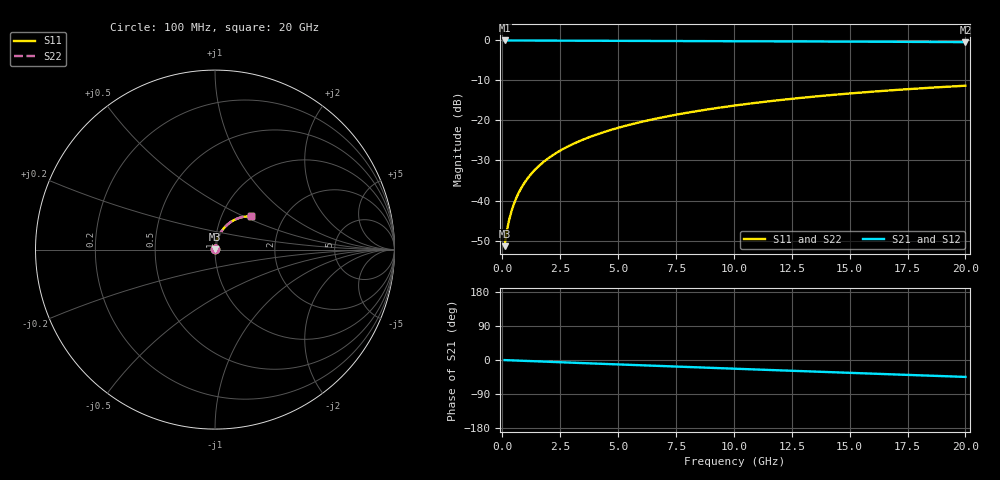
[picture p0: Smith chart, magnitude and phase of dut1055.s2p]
! Touchstone file exported from HFSS 2026.1.0
!  File:  C:/ffzhzh/LocalFiles/Ansys_Project_Files/temp_train_BSMRDL_1055_1783174000_51560.aedt
!  Generated:  10:07:55 PM Jul  4, 2026
!  Design:  BSMRDL
!  Project:  temp_train_BSMRDL_1055_1783174000_51560
! Variables:
!  h_bsmrdl = 5.71um
!  h_ox = 20um
!  h_rdl = 5um
!  h_sub = 80um
!  h_tmrdl = 5um
!  h_tsv = 80um
!  h_via = 3um
!  l_bsmrdl = 729.95um
!  l_sub = 1129.95um
!  l_tmrdl = 200um
!  m_sub = 200um
!  pitch = 47.63um
!  r_tsv = 6um
!  s_tmrdl = 10um
!  w_bsmrdl = 28.91um
!  w_sub = 500um
!  w_tmrdl = 12um
!  x_tsv_center1 = 206um
!  x_tsv_center2 = 964.86um
!  x_tsv_center3 = 1176.86um
!  x_tsv_center4 = 1935.72um
!  x_tsv_center5 = 2147.72um
!  x_tsv_center6 = 2906.58um
# GHz S MA R 50.000000
! Terminal data exported
! Port[1] = BSM_RDL1_1_T1
! Port[2] = BSM_RDL1_1_T2
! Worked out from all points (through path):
!   200 points, 100 MHz to 20 GHz, reference 50 ohm
!   highest |S21| = -0.02 dB at 100 MHz (marker M1); lowest = -0.4 dB at 20 GHz (marker M2)
!   group delay of S21, straight-line fit = 6.19 ps
!   lowest |S11| = -51.4 dB at 100 MHz (marker M3), VSWR 1.01, Z = 50.2 + j0.198 ohm
!   |S11| at or under -10 dB: start of sweep to end of sweep
!   |S22| runs from -51.4 to -11.3 dB; largest |S21 - S12| = 2.7e-15
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0.1  0.00269 47.1  0.9982 -0.3  0.9982 -0.3  0.00269 47.1
! Gamma 0 0 0 0
! Port Impedance 50 0 50 0
0.2  0.004239 61.0  0.998 -0.5  0.998 -0.5  0.004239 61.0
0.3  0.005808 67.6  0.9978 -0.7  0.9978 -0.7  0.005808 67.6
0.4  0.007409 71.6  0.9978 -1.0  0.9978 -1.0  0.007409 71.6
0.5  0.009038 74.2  0.9977 -1.2  0.9977 -1.2  0.009038 74.2
0.6  0.01069 75.9  0.9976 -1.4  0.9976 -1.4  0.01069 75.9
0.8  0.01401 78.0  0.9975 -1.9  0.9975 -1.9  0.01401 78.0
1.1  0.01903 79.4  0.9972 -2.6  0.9972 -2.6  0.01902 79.4
1.3  0.02236 79.8  0.997 -3.1  0.997 -3.1  0.02236 79.8
1.5  0.02568 79.9  0.9967 -3.6  0.9967 -3.6  0.02568 79.9
1.8  0.03063 79.7  0.9963 -4.3  0.9963 -4.3  0.03063 79.7
2.1  0.03554 79.4  0.9959 -5.0  0.9959 -5.0  0.03554 79.4
2.7  0.04521 78.5  0.995 -6.4  0.995 -6.4  0.04521 78.5
3.5  0.05784 77.1  0.9936 -8.2  0.9936 -8.2  0.05784 77.1
4.2  0.06869 75.7  0.9923 -9.8  0.9923 -9.8  0.06869 75.7
5  0.08089 74.2  0.9908 -11.7  0.9908 -11.7  0.08089 74.2
6.8  0.1077 70.5  0.9872 -15.7  0.9872 -15.7  0.1077 70.6
8.3  0.1294 67.5  0.9839 -19.1  0.9839 -19.1  0.1294 67.5
10.1  0.1545 63.7  0.9796 -23.2  0.9796 -23.2  0.1545 63.8
13.4  0.1978 56.8  0.9707 -30.4  0.9707 -30.4  0.1978 56.9
16.7  0.237 50.0  0.9612 -37.6  0.9612 -37.6  0.237 50.0
20  0.2716 43.2  0.9515 -44.6  0.9515 -44.6  0.2716 43.2
